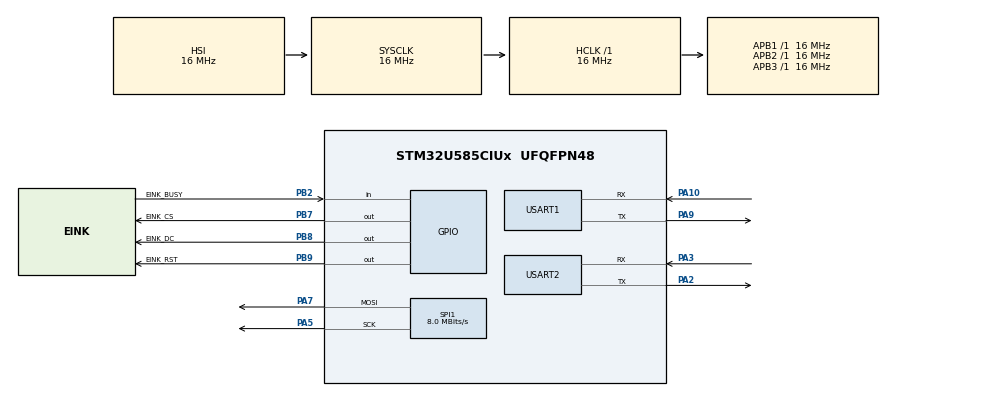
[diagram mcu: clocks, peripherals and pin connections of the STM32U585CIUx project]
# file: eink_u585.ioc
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CORTEX_M33_NS.userName=CORTEX_M33
Mcu.Family=STM32U5
Mcu.Name=STM32U585CIUx
Mcu.Package=UFQFPN48
NVIC.PriorityGroup=NVIC_PRIORITYGROUP_4
PA10.Mode=Asynchronous
PA10.Signal=USART1_RX
PA13\ (JTMS/SWDIO).Mode=Serial_Wire
PA13\ (JTMS/SWDIO).Signal=DEBUG_JTMS-SWDIO
PA14\ (JTCK/SWCLK).Mode=Serial_Wire
PA14\ (JTCK/SWCLK).Signal=DEBUG_JTCK-SWCLK
PA2.Mode=Asynchronous
PA2.Signal=USART2_TX
PA3.Mode=Asynchronous
PA3.Signal=USART2_RX
PA5.Mode=TX_Only_Simplex_Unidirect_Master
PA5.Signal=SPI1_SCK
PA7.Mode=TX_Only_Simplex_Unidirect_Master
PA7.Signal=SPI1_MOSI
PA9.Mode=Asynchronous
PA9.Signal=USART1_TX
PB2.GPIO_Label=EINK_BUSY
PB2.Signal=GPIO_Input
PB7.GPIO_Label=EINK_CS
PB7.Signal=GPIO_Output
PB8.GPIO_Label=EINK_DC
PB8.Signal=GPIO_Output
PB9.GPIO_Label=EINK_RST
PB9.Signal=GPIO_Output
ProjectManager.HeapSize=0x200
ProjectManager.StackSize=0x400
ProjectManager.TargetToolchain=CMake
RCC.ADCFreq_Value=16000000
RCC.AHBFreq_Value=16000000
RCC.APB1Freq_Value=16000000
RCC.APB1TimFreq_Value=16000000
RCC.APB2Freq_Value=16000000
RCC.APB2TimFreq_Value=16000000
RCC.APB3Freq_Value=16000000
RCC.CortexFreq_Value=16000000
RCC.EPOD_VALUE=16000000
RCC.HCLKFreq_Value=16000000
RCC.HSE_VALUE=16000000
RCC.HSI48_VALUE=48000000
RCC.HSI_VALUE=16000000
RCC.LSE_VALUE=32768
RCC.LSIDIV_VALUE=32000
RCC.MSI_VALUE=4000000
RCC.PLLSourceVirtual=RCC_PLLSOURCE_HSI
RCC.SYSCLKFreq_VALUE=16000000
RCC.SYSCLKSource=RCC_SYSCLKSOURCE_HSI
RCC.USBFreq_Value=48000000
RCC.VCOOutputFreq_Value=2064000000
SPI1.BaudRatePrescaler=SPI_BAUDRATEPRESCALER_2
SPI1.CalculateBaudRate=8.0 MBits/s
SPI1.DataSize=SPI_DATASIZE_8BIT
SPI1.Direction=SPI_DIRECTION_2LINES_TXONLY
SPI1.Mode=SPI_MODE_MASTER
SPI1.VirtualType=VM_MASTER
USART1.VirtualMode-Asynchronous=VM_ASYNC
USART2.VirtualMode-Asynchronous=VM_ASYNC
VP_ICACHE_VS_ICACHE.Mode=DefaultMode
VP_LPBAMQUEUE_VS_QUEUE.Mode=QUEUEMODE
VP_LPBAM_VS_SIG1.Mode=SmartRun
VP_LPBAM_VS_SIG4.Mode=LPDMA1
VP_MEMORYMAP_VS_MEMORYMAP.Mode=CurAppReg
VP_PWR_VS_SECSignals.Mode=Security/Privilege
board=custom

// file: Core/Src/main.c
/* USER CODE BEGIN Header */
/**
  ******************************************************************************
  * @file           : main.c
  * @brief          : Main program body
  ******************************************************************************
  * @attention
  *
  * Copyright (c) 2026 STMicroelectronics.
  * All rights reserved.
  *
  * This software is licensed under terms that can be found in the LICENSE file
  * in the root directory of this software component.
  * If no LICENSE file comes with this software, it is provided AS-IS.
  *
  ******************************************************************************
  */
/* USER CODE END Header */
#include "main.h"
#include "icache.h"
#include "spi.h"
#include "usart.h"
#include "gpio.h"

/* USER CODE BEGIN Includes */
#include <stdio.h>
#include "eink_demo.h"
#include "debug_uart.h"   /* выбор USART консоли: EINK_DEBUG_USART (1 или 2) */
#ifndef EINK_DIAG
#define EINK_DIAG 1     /* 1 = журнал в отладочный USART (printf), см. CMakeLists.txt */
#endif
/* USER CODE END Includes */

void SystemClock_Config(void);

int main(void)
{

  /* MCU Configuration--------------------------------------------------------*/

  /* Reset of all peripherals, Initializes the Flash interface and the Systick. */
  HAL_Init();

  /* Configure the system clock */
  SystemClock_Config();

  /* Initialize all configured peripherals */
  MX_GPIO_Init();
  MX_ICACHE_Init();
  MX_SPI1_Init();
  MX_USART2_UART_Init();
  MX_USART1_UART_Init();
  /* USER CODE BEGIN 2 */
#if EINK_DIAG
  printf("\r\n=== eink_part_refresh boot ===\r\n");
  printf("[BOOT] SystemCoreClock=%lu Hz, HAL tick=%lu ms\r\n",
         (unsigned long)SystemCoreClock, (unsigned long)HAL_GetTick());
  printf("[BOOT] %s=115200 8N1, SPI1 display interface initialized\r\n",
         DBG_UART_NAME);
  printf("[BOOT] EINK_BUSY PB2 level before panel init: %u\r\n",
         (unsigned)HAL_GPIO_ReadPin(EINK_BUSY_GPIO_Port, EINK_BUSY_Pin));
#endif
  if (eink_demo_init() != 0) {
#if EINK_DIAG
    printf("[FATAL] eink_demo_init failed; animation stopped\r\n");
#endif
    while (1) { HAL_Delay(1000); }
  }
  /* USER CODE END 2 */

  /* Infinite loop */
  while (1)
  {

    /* USER CODE BEGIN 3 */
      /* Не блокирует: пока панель рисует, цикл крутится свободно (здесь же обрабатывайте GNSS и кнопки). */
      if (eink_demo_task() != 0) {
#if EINK_DIAG
        printf("[FATAL] eink_demo_task failed; animation stopped\r\n");
#endif
        while (1) { HAL_Delay(1000); }
      }
  }
  /* USER CODE END 3 */
}

void SystemClock_Config(void)
{
  RCC_OscInitTypeDef RCC_OscInitStruct = {0};
  RCC_ClkInitTypeDef RCC_ClkInitStruct = {0};

  /** Configure the main internal regulator output voltage
  */
  if (HAL_PWREx_ControlVoltageScaling(PWR_REGULATOR_VOLTAGE_SCALE4) != HAL_OK)
  {
    Error_Handler();
  }

  /** Initializes the CPU, AHB and APB buses clocks
  */
  RCC_OscInitStruct.OscillatorType = RCC_OSCILLATORTYPE_HSI;
  RCC_OscInitStruct.HSIState = RCC_HSI_ON;
  RCC_OscInitStruct.HSICalibrationValue = RCC_HSICALIBRATION_DEFAULT;
  RCC_OscInitStruct.PLL.PLLState = RCC_PLL_NONE;
  if (HAL_RCC_OscConfig(&RCC_OscInitStruct) != HAL_OK)
  {
    Error_Handler();
  }

  /** Initializes the CPU, AHB and APB buses clocks
  */
  RCC_ClkInitStruct.ClockType = RCC_CLOCKTYPE_HCLK|RCC_CLOCKTYPE_SYSCLK
                              |RCC_CLOCKTYPE_PCLK1|RCC_CLOCKTYPE_PCLK2
                              |RCC_CLOCKTYPE_PCLK3;
  RCC_ClkInitStruct.SYSCLKSource = RCC_SYSCLKSOURCE_HSI;
  RCC_ClkInitStruct.AHBCLKDivider = RCC_SYSCLK_DIV1;
  RCC_ClkInitStruct.APB1CLKDivider = RCC_HCLK_DIV1;
  RCC_ClkInitStruct.APB2CLKDivider = RCC_HCLK_DIV1;
  RCC_ClkInitStruct.APB3CLKDivider = RCC_HCLK_DIV1;

  if (HAL_RCC_ClockConfig(&RCC_ClkInitStruct, FLASH_LATENCY_1) != HAL_OK)
  {
    Error_Handler();
  }
}

/* USER CODE BEGIN 4 */
#if EINK_DIAG
/* printf() -> _write() in syscalls.c -> __io_putchar() -> DBG_UART_HANDLE
 * (USART1 по умолчанию, см. debug_uart.h). */
int __io_putchar(int ch)
{
  uint8_t byte;
  if (ch == '\n') {
    byte = '\r';
    if (HAL_UART_Transmit(&DBG_UART_HANDLE, &byte, 1, 1000) != HAL_OK) {
      return EOF;
    }
  }
  byte = (uint8_t)ch;
  if (HAL_UART_Transmit(&DBG_UART_HANDLE, &byte, 1, 1000) != HAL_OK) {
    return EOF;
  }
  return ch;
}
#endif /* EINK_DIAG */
/* USER CODE END 4 */

void Error_Handler(void)
{
  __disable_irq();
  while (1)
  {
  }
}
